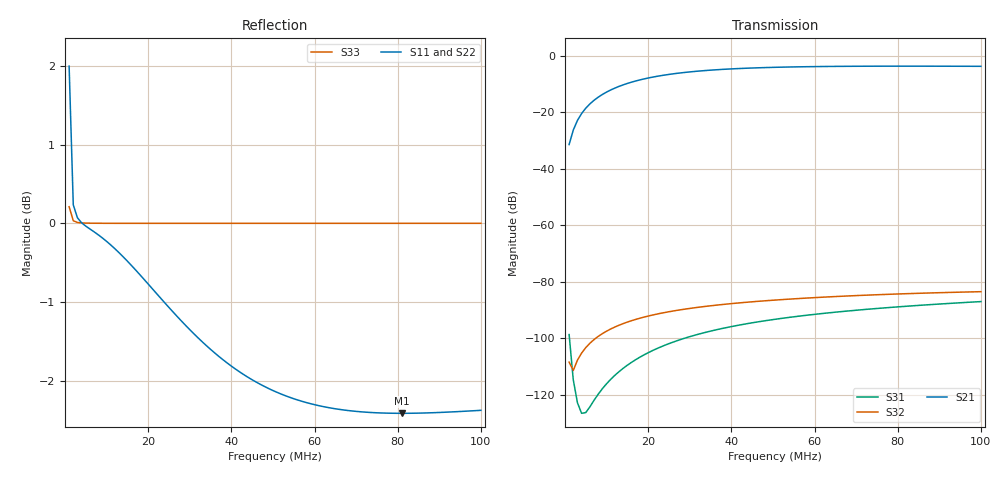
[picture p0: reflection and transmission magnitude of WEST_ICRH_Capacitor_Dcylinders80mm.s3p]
! Touchstone file exported from HFSS 2018.2.0
!  File:  E:/Julien/ICRH/WEST Antenna/Complete Numerical Antenna Model/WEST_ICRH_Capacitor.aedt
!  Generated:  5:40:57  janv. 09, 2019
!  Design:  WEST_ICRH_Voltage_Probes_depth_m5mm_optimetrics_silver_Part2
!  Project:  WEST_ICRH_Capacitor
!  Setup:  Setup1
!  Solution:  Sweep
! Variables:
!  D_cylinders = 80mm
!  D_cylinders_step = 110.908mm
!  d_half_wave = 2.66666666666667mm
!  d_mesh = 7mm
!  deemb1 = 150mm
!  deemb2 = 150mm
!  deemb3 = 100mm
!  depth = -5mm
!  diameter_bellows_fixed_center_1 = 76mm
!  diameter_bellows_fixed_center_2 = 72mm
!  diameter_bellows_fixed_left_1 = 76mm
!  diameter_bellows_fixed_left_2 = 71mm
!  diameter_big_wave = 74.925mm
!  diameter_cylinder_1 = 140mm
!  diameter_cylinder_2 = 110mm
!  diameter_cylinder_3 = 80mm
!  diameter_cylinder_4 = 50mm
!  diameter_cylinder_5 = 19.985mm
!  diameter_cylinders_fixed = 143mm
!  diameter_small_wave = 51mm
!  diametre_coax_external = 216mm
!  diametre_probe_cavity = 13mm
!  diametre_probe_external = 7mm
!  diametre_probe_head = 7mm
!  diametre_probe_internal = 3mm
!  length_bellows_fixed_center_1 = 4.1mm
!  length_bellows_fixed_center_2 = 6.042mm
!  length_bellows_fixed_left_1 = 4.1mm
!  length_bellows_fixed_left_2 = 13mm
!  length_cylinders = 45.5mm
!  length_cylinders_fixed = 7mm
!  length_probe = 114mm
!  length_probe_cavity = 23mm
!  length_probe_head = 9.5mm
!  parois_cavity_probe = 1mm
!  parois_probe = 1mm
!  thickness_cylinder_1 = 1.5mm
!  thickness_cylinder_2 = 1.5mm
!  thickness_cylinder_3 = 1.5mm
!  thickness_cylinder_4 = 1.5mm
!  top_probe = 14mm
!  y0_bellows1 = 223.3mm
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# GHZ S DB R 50.000000
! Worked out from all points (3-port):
!   100 points, 1 MHz to 100 MHz, reference 50 ohm
!   strongest paths, dB at 1 MHz, 26 MHz, 51 MHz, 76 MHz, 100 MHz:
!     S21: -31.4, -6.4, -4.1, -3.7, -3.8
!     S32: -108.4, -90.3, -86.4, -84.5, -83.5
!     S31: -98.6, -101.3, -93.1, -89.3, -87.0
!   lowest |S11| = -2.4 dB at 81 MHz (marker M1), VSWR 7.24, Z = 10.2 - j34.3 ohm
!   |S11| at or under -10 dB: nowhere
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0.001  2.00 -2.6  -31.43 86.6  -98.63 103.6
       -31.43 86.6  0.02 -2.3  -108.38 150.9
       -98.63 103.6  -108.38 150.9  0.21 2.0
0.002  0.23 -4.6  -26.31 85.2  -114.63 127.0
       -26.31 85.2  -0.00 -4.6  -111.33 91.1
       -114.63 127.0  -111.33 91.1  0.03 0.5
0.003  0.07 -6.9  -22.91 83.0  -122.75 128.1
       -22.91 83.0  -0.02 -6.8  -107.69 87.6
       -122.75 128.1  -107.69 87.6  0.01 0.1
0.005  -0.04 -11.5  -18.58 78.5  -126.22 152.4
       -18.58 78.5  -0.06 -11.3  -103.25 84.5
       -126.22 152.4  -103.25 84.5  0.00 -0.2
0.008  -0.15 -18.2  -14.67 71.9  -119.71 160.1
       -14.67 71.9  -0.15 -18.0  -99.27 80.9
       -119.71 160.1  -99.27 80.9  0.00 -0.4
0.013  -0.37 -28.9  -10.86 61.2  -111.75 150.9
       -10.86 61.2  -0.37 -28.6  -95.33 75.7
       -111.75 150.9  -95.33 75.7  0.00 -0.7
0.028  -1.24 -56.0  -6.06 34.4  -100.29 124.0
       -6.06 34.4  -1.24 -55.2  -89.82 63.7
       -100.29 124.0  -89.82 63.7  -0.00 -1.5
0.051  -2.15 -84.7  -4.10 6.1  -93.12 95.5
       -4.10 6.1  -2.15 -83.2  -86.38 53.1
       -93.12 95.5  -86.38 53.1  -0.00 -2.7
0.081  -2.41 -109.6  -3.71 -18.2  -88.73 70.9
       -3.71 -18.2  -2.42 -106.9  -84.23 44.4
       -88.73 70.9  -84.23 44.4  -0.00 -4.4
0.1  -2.38 -121.7  -3.76 -29.9  -86.96 59.1
     -3.76 -29.9  -2.38 -118.1  -83.46 40.3
     -86.96 59.1  -83.46 40.3  0.00 -5.4
